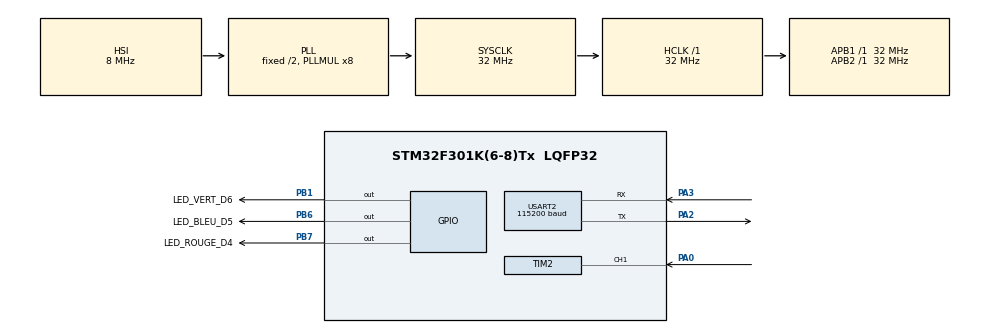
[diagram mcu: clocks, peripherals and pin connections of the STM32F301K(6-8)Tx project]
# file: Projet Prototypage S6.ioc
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Mcu.Family=STM32F3
Mcu.Name=STM32F301K(6-8)Tx
Mcu.Package=LQFP32
NVIC.PriorityGroup=NVIC_PRIORITYGROUP_4
NVIC.TIM2_IRQn=true\:0\:0\:false\:false\:true\:true\:true\:true
PA0.Signal=S_TIM2_CH1_ETR
PA2.Mode=Asynchronous
PA2.Signal=USART2_TX
PA3.Mode=Asynchronous
PA3.Signal=USART2_RX
PB1.GPIO_Label=LED_VERT_D6
PB1.Signal=GPIO_Output
PB6.GPIO_Label=LED_BLEU_D5
PB6.Signal=GPIO_Output
PB7.GPIO_Label=LED_ROUGE_D4
PB7.Signal=GPIO_Output
ProjectManager.HeapSize=0x200
ProjectManager.StackSize=0x400
ProjectManager.TargetToolchain=STM32CubeIDE
RCC.AHBFreq_Value=32000000
RCC.APB1Freq_Value=32000000
RCC.APB1TimFreq_Value=32000000
RCC.APB2Freq_Value=32000000
RCC.APB2TimFreq_Value=32000000
RCC.CortexFreq_Value=32000000
RCC.HCLKFreq_Value=32000000
RCC.HSE_VALUE=8000000
RCC.HSI_VALUE=8000000
RCC.PLLMUL=RCC_PLL_MUL8
RCC.SYSCLKFreq_VALUE=32000000
RCC.SYSCLKSourceVirtual=RCC_SYSCLKSOURCE_PLLCLK
SH.S_TIM2_CH1_ETR.0=TIM2_CH1,Input_Capture1_from_TI1
TIM2.AutoReloadPreload=TIM_AUTORELOAD_PRELOAD_ENABLE
TIM2.Channel-Input_Capture1_from_TI1=TIM_CHANNEL_1
TIM2.Period=800000000
TIM2.Prescaler=0
USART2.BaudRate=115200
USART2.VirtualMode-Asynchronous=VM_ASYNC
VP_TIM2_VS_ClockSourceINT.Mode=Internal
board=custom

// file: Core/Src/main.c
/* USER CODE BEGIN Header */
/**
  ******************************************************************************
  * @file           : main.c
  * @brief          : Main program body
  ******************************************************************************
  * @attention
  *
  * Copyright (c) 2024 STMicroelectronics.
  * All rights reserved.
  *
  * This software is licensed under terms that can be found in the LICENSE file
  * in the root directory of this software component.
  * If no LICENSE file comes with this software, it is provided AS-IS.
  *
  ******************************************************************************
  */
/* USER CODE END Header */
#include "main.h"

/* USER CODE BEGIN Includes */
#include "stdio.h"
/* USER CODE END Includes */

TIM_HandleTypeDef htim2;

UART_HandleTypeDef huart2;

/* USER CODE BEGIN PV */

volatile uint32_t Timer_clock = 32; // La fréquence de notre Timer en MHz
volatile int R6 = 1; // Résistance 6 du conditionneur en MegaOhm

// --------- FAIRE LES CALCULS DANS LE CALLBACK ----------- //

//Pour electrode 1
volatile int CalculOK_1;
volatile float Diff_moy_1;
volatile float IC_Valeur1_1;
volatile float IC_Valeur2_1;
volatile int Premiere_capture_1;
//Pour moyenner les valeurs electrode 1
volatile float n_1 = 0;
volatile float Freq_moy_1 = 0;
volatile float Etat_distance_1;
volatile float Capacite_moy_1; // La valeur de la Capacit 1

//Pour electrode 2
volatile int CalculOK_2;
volatile float Diff_moy_2;
volatile float IC_Valeur1_2;
volatile float IC_Valeur2_2;
volatile int Premiere_capture_2;
//Pour moyenner les valeurs electrode 2
volatile float n_2 = 0;
volatile float Freq_moy_2 = 0;
volatile float Etat_distance_2;
volatile float Capacite_moy_2; // La valeur de la Capacit 2

//Pour electrode 3
volatile int CalculOK_3;
volatile float Diff_moy_3;
volatile float IC_Valeur1_3;
volatile float IC_Valeur2_3;
volatile int Premiere_capture_3;
//Pour moyenner les valeurs electrode 3
volatile float n_3 = 0;
volatile float Freq_moy_3 = 0;
volatile float Etat_distance_3;
volatile float Capacite_moy_3; // La valeur de la Capacit 3

// On initialise la valeur de cap_data, pour le formater
uint8_t cap_data_1[5000] = {'\0'};
uint8_t cap_data_2[5000] = {'\0'};
uint8_t cap_data_3[5000] = {'\0'};

/* USER CODE END PV */

void SystemClock_Config(void);
static void MX_GPIO_Init(void);
static void MX_TIM2_Init(void);
static void MX_USART2_UART_Init(void);

int main(void)
{

  /* MCU Configuration--------------------------------------------------------*/

  /* Reset of all peripherals, Initializes the Flash interface and the Systick. */
  HAL_Init();

  /* Configure the system clock */
  SystemClock_Config();

  /* Initialize all configured peripherals */
  MX_GPIO_Init();
  MX_TIM2_Init();
  MX_USART2_UART_Init();
  /* USER CODE BEGIN 2 */
  HAL_TIM_IC_Start_IT(&htim2, TIM_CHANNEL_1);
  /* USER CODE END 2 */

  /* Infinite loop */
  while (1)
  {

    /* USER CODE BEGIN 3 */
	  if (Etat_distance_1){
		  HAL_GPIO_WritePin(LED_ROUGE_D4_GPIO_Port, LED_ROUGE_D4_Pin, GPIO_PIN_SET);
		  HAL_GPIO_WritePin(LED_BLEU_D5_GPIO_Port, LED_BLEU_D5_Pin, GPIO_PIN_RESET);
	  }
	  else{
		  HAL_GPIO_WritePin(LED_ROUGE_D4_GPIO_Port, LED_ROUGE_D4_Pin, GPIO_PIN_RESET);
		  HAL_GPIO_WritePin(LED_BLEU_D5_GPIO_Port, LED_BLEU_D5_Pin, GPIO_PIN_SET);
	  }
  }
  /* USER CODE END 3 */
}

void SystemClock_Config(void)
{
  RCC_OscInitTypeDef RCC_OscInitStruct = {0};
  RCC_ClkInitTypeDef RCC_ClkInitStruct = {0};

  /** Initializes the RCC Oscillators according to the specified parameters
  * in the RCC_OscInitTypeDef structure.
  */
  RCC_OscInitStruct.OscillatorType = RCC_OSCILLATORTYPE_HSI;
  RCC_OscInitStruct.HSIState = RCC_HSI_ON;
  RCC_OscInitStruct.HSICalibrationValue = RCC_HSICALIBRATION_DEFAULT;
  RCC_OscInitStruct.PLL.PLLState = RCC_PLL_ON;
  RCC_OscInitStruct.PLL.PLLSource = RCC_PLLSOURCE_HSI;
  RCC_OscInitStruct.PLL.PLLMUL = RCC_PLL_MUL8;
  if (HAL_RCC_OscConfig(&RCC_OscInitStruct) != HAL_OK)
  {
    Error_Handler();
  }

  /** Initializes the CPU, AHB and APB buses clocks
  */
  RCC_ClkInitStruct.ClockType = RCC_CLOCKTYPE_HCLK|RCC_CLOCKTYPE_SYSCLK
                              |RCC_CLOCKTYPE_PCLK1|RCC_CLOCKTYPE_PCLK2;
  RCC_ClkInitStruct.SYSCLKSource = RCC_SYSCLKSOURCE_PLLCLK;
  RCC_ClkInitStruct.AHBCLKDivider = RCC_SYSCLK_DIV1;
  RCC_ClkInitStruct.APB1CLKDivider = RCC_HCLK_DIV1;
  RCC_ClkInitStruct.APB2CLKDivider = RCC_HCLK_DIV1;

  if (HAL_RCC_ClockConfig(&RCC_ClkInitStruct, FLASH_LATENCY_1) != HAL_OK)
  {
    Error_Handler();
  }
}

static void MX_TIM2_Init(void)
{

  TIM_ClockConfigTypeDef sClockSourceConfig = {0};
  TIM_MasterConfigTypeDef sMasterConfig = {0};
  TIM_IC_InitTypeDef sConfigIC = {0};

  htim2.Instance = TIM2;
  htim2.Init.Prescaler = 0;
  htim2.Init.CounterMode = TIM_COUNTERMODE_UP;
  htim2.Init.Period = 800000000;
  htim2.Init.ClockDivision = TIM_CLOCKDIVISION_DIV1;
  htim2.Init.AutoReloadPreload = TIM_AUTORELOAD_PRELOAD_ENABLE;
  if (HAL_TIM_Base_Init(&htim2) != HAL_OK)
  {
    Error_Handler();
  }
  sClockSourceConfig.ClockSource = TIM_CLOCKSOURCE_INTERNAL;
  if (HAL_TIM_ConfigClockSource(&htim2, &sClockSourceConfig) != HAL_OK)
  {
    Error_Handler();
  }
  if (HAL_TIM_IC_Init(&htim2) != HAL_OK)
  {
    Error_Handler();
  }
  sMasterConfig.MasterOutputTrigger = TIM_TRGO_RESET;
  sMasterConfig.MasterSlaveMode = TIM_MASTERSLAVEMODE_DISABLE;
  if (HAL_TIMEx_MasterConfigSynchronization(&htim2, &sMasterConfig) != HAL_OK)
  {
    Error_Handler();
  }
  sConfigIC.ICPolarity = TIM_INPUTCHANNELPOLARITY_RISING;
  sConfigIC.ICSelection = TIM_ICSELECTION_DIRECTTI;
  sConfigIC.ICPrescaler = TIM_ICPSC_DIV1;
  sConfigIC.ICFilter = 0;
  if (HAL_TIM_IC_ConfigChannel(&htim2, &sConfigIC, TIM_CHANNEL_1) != HAL_OK)
  {
    Error_Handler();
  }

}

static void MX_USART2_UART_Init(void)
{

  huart2.Instance = USART2;
  huart2.Init.BaudRate = 115200;
  huart2.Init.WordLength = UART_WORDLENGTH_8B;
  huart2.Init.StopBits = UART_STOPBITS_1;
  huart2.Init.Parity = UART_PARITY_NONE;
  huart2.Init.Mode = UART_MODE_TX_RX;
  huart2.Init.HwFlowCtl = UART_HWCONTROL_NONE;
  huart2.Init.OverSampling = UART_OVERSAMPLING_16;
  huart2.Init.OneBitSampling = UART_ONE_BIT_SAMPLE_DISABLE;
  huart2.AdvancedInit.AdvFeatureInit = UART_ADVFEATURE_NO_INIT;
  if (HAL_UART_Init(&huart2) != HAL_OK)
  {
    Error_Handler();
  }

}

static void MX_GPIO_Init(void)
{
  GPIO_InitTypeDef GPIO_InitStruct = {0};

  /* GPIO Ports Clock Enable */
  __HAL_RCC_GPIOA_CLK_ENABLE();
  __HAL_RCC_GPIOB_CLK_ENABLE();

  /*Configure GPIO pin Output Level */
  HAL_GPIO_WritePin(GPIOB, LED_VERT_D6_Pin|LED_BLEU_D5_Pin|LED_ROUGE_D4_Pin, GPIO_PIN_RESET);

  /*Configure GPIO pins : LED_VERT_D6_Pin LED_BLEU_D5_Pin LED_ROUGE_D4_Pin */
  GPIO_InitStruct.Pin = LED_VERT_D6_Pin|LED_BLEU_D5_Pin|LED_ROUGE_D4_Pin;
  GPIO_InitStruct.Mode = GPIO_MODE_OUTPUT_PP;
  GPIO_InitStruct.Pull = GPIO_NOPULL;
  GPIO_InitStruct.Speed = GPIO_SPEED_FREQ_LOW;
  HAL_GPIO_Init(GPIOB, &GPIO_InitStruct);

}

/* USER CODE BEGIN 4 */

//HAL_UART_Transmit(&huart2, 'Test', 10*sizeof(char), 200);

void HAL_TIM_IC_CaptureCallback(TIM_HandleTypeDef*htim2){
	if ((htim2->Channel == HAL_TIM_ACTIVE_CHANNEL_1))
	{
		if (Premiere_capture_1 ==0)
		{
			IC_Valeur1_1 = HAL_TIM_ReadCapturedValue(htim2, TIM_CHANNEL_1);
			Premiere_capture_1 =1;
		}
		else if (Premiere_capture_1)
		{
			n_1 ++;
			if(n_1 == 10){
				IC_Valeur2_1 = HAL_TIM_ReadCapturedValue(htim2, TIM_CHANNEL_1);
				if (IC_Valeur2_1 > IC_Valeur1_1)
				{
					Diff_moy_1 = (IC_Valeur2_1 - IC_Valeur1_1)/n_1;
					Freq_moy_1= HAL_RCC_GetPCLK1Freq()/Diff_moy_1; // Frequence en Hz
					CalculOK_1 =1;

					// Calcul de la valeur de la capa en pF
					Capacite_moy_1 = 1000000/(Freq_moy_1*R6); // En Pico PicoFarad

					if (Capacite_moy_1 > 31){
						Etat_distance_1 = 1;
					}
					else{
						Etat_distance_1 = 0;
					}

					// Envoyer les valeurs dans le UART
					sprintf(cap_data_1, "Frequence = %f Hz , Capacite = %f pF , Seuil = %d \n\r", Freq_moy_1, Capacite_moy_1, Etat_distance_1);
					HAL_UART_Transmit(&huart2, cap_data_1, sizeof(cap_data_1), 200);
					n_1 = 0;
				}
				else
					CalculOK_1 =0;
				Premiere_capture_1 = 0;

			}

		}
	}
}

/* USER CODE END 4 */

void Error_Handler(void)
{
  __disable_irq();
  while (1)
  {
  }
}
